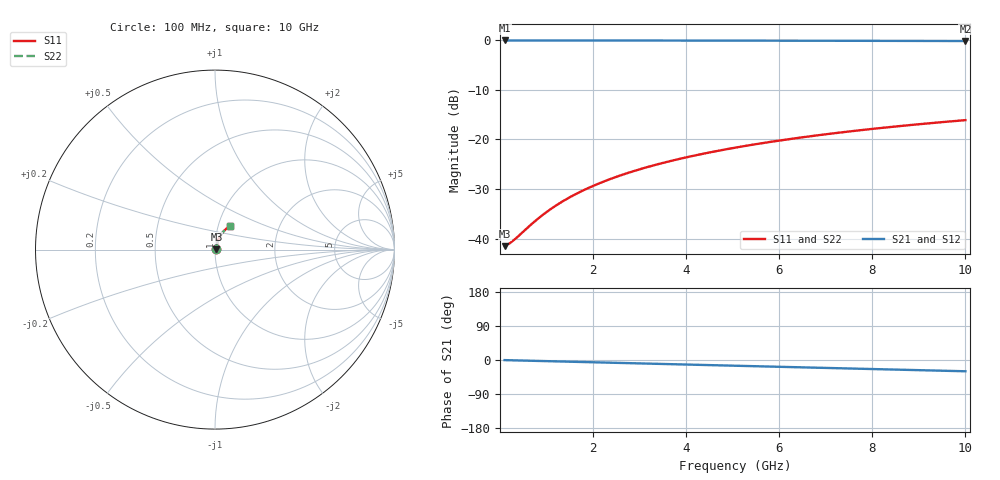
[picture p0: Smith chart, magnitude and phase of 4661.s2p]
# Hz S RI R 50.00
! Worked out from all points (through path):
!   100 points, 100 MHz to 10 GHz, reference 50 ohm
!   highest |S21| = -0.07 dB at 100 MHz (marker M1); lowest = -0.2 dB at 10 GHz (marker M2)
!   group delay of S21, straight-line fit = 8.27 ps
!   lowest |S11| = -41.5 dB at 100 MHz (marker M3), VSWR 1.02, Z = 50.8 + j0.163 ohm
!   |S11| at or under -10 dB: start of sweep to end of sweep
!   |S22| runs from -41.5 to -16.1 dB; largest |S21 - S12| = 0
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1e8  0.00823 0.0016  0.9918 -0.00519  0.9918 -0.00519  0.00823 0.0016
2e8  0.00831 0.0032  0.9917 -0.0104  0.9917 -0.0104  0.00831 0.0032
3e8  0.00839 0.00481  0.9915 -0.0156  0.9915 -0.0156  0.00839 0.00481
8e8  0.00897 0.0128  0.9906 -0.0415  0.9906 -0.0415  0.00897 0.0128
9e8  0.00913 0.0144  0.9903 -0.0466  0.9903 -0.0466  0.00913 0.0144
1.1e9  0.0095 0.0176  0.9897 -0.057  0.9897 -0.057  0.0095 0.0176
1.4e9  0.0102 0.0223  0.9885 -0.0725  0.9885 -0.0725  0.0102 0.0223
1.6e9  0.0107 0.0255  0.9876 -0.0828  0.9876 -0.0828  0.0107 0.0255
1.8e9  0.0113 0.0286  0.9866 -0.0931  0.9866 -0.0931  0.0113 0.0286
2.1e9  0.0123 0.0333  0.9848 -0.1085  0.9848 -0.1085  0.0123 0.0333
2.5e9  0.0139 0.0395  0.982 -0.129  0.982 -0.129  0.0139 0.0395
2.9e9  0.0157 0.0456  0.9788 -0.1495  0.9788 -0.1495  0.0157 0.0456
3.4e9  0.0183 0.0532  0.9741 -0.1749  0.9741 -0.1749  0.0183 0.0532
3.8e9  0.0207 0.0591  0.9699 -0.195  0.9699 -0.195  0.0207 0.0591
4.2e9  0.0233 0.0649  0.9651 -0.2151  0.9651 -0.2151  0.0233 0.0649
4.6e9  0.0262 0.0706  0.96 -0.2351  0.96 -0.2351  0.0262 0.0706
5.1e9  0.0301 0.0775  0.9529 -0.2598  0.9529 -0.2598  0.0301 0.0775
5.9e9  0.0371 0.0881  0.9402 -0.2988  0.9402 -0.2988  0.0371 0.0881
6.7e9  0.0449 0.0981  0.9258 -0.3371  0.9258 -0.3371  0.0449 0.0981
7.5e9  0.0535 0.1074  0.9097 -0.3746  0.9097 -0.3746  0.0535 0.1074
8.4e9  0.064 0.1169  0.8898 -0.4157  0.8898 -0.4157  0.064 0.1169
1e10  0.0847 0.1311  0.8498 -0.4856  0.8498 -0.4856  0.0847 0.1311
